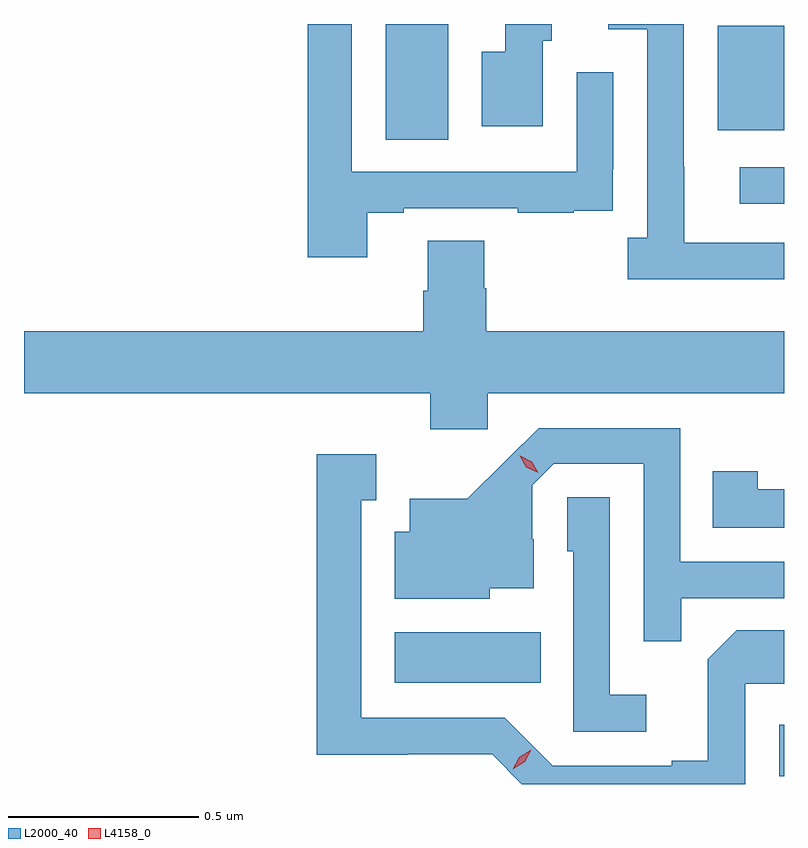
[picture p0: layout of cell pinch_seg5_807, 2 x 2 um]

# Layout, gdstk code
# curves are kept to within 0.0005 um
import gdstk
lib = gdstk.Library(unit=1e-6, precision=1e-09)
def R(c, l, rs):  # rectangles x0, y0, x1, y1
    for r in rs: c.add(gdstk.rectangle(r[:2], r[2:], *l))
def P(c, l, *ps):  # polygons
    for p in ps: c.add(gdstk.Polygon(p, *l))
L2000_40 = (2000, 40)
L4158_0 = (4158, 0)

pinch_seg5_807 = lib.new_cell('pinch_seg5_807')
R(pinch_seg5_807, L2000_40, [(783.737,907.7,783.75,907.836), (782.726,907.946,783.11,908.08), (783.633,909.207,783.75,909.303), (782.702,909.376,782.866,909.68), (783.575,909.401,783.75,909.676)])
P(pinch_seg5_807, L2000_40, [(783.75,909.105),(783.487,909.105),(783.487,909.305),(783.486,909.305),(783.486,909.68),(783.288,909.68),(783.288,909.666),(783.39,909.666),(783.39,909.118),(783.339,909.118),(783.339,909.008),(783.75,909.008)],
  [(782.653,909.183),(782.749,909.183),(782.749,909.195),(783.049,909.195),(783.049,909.183),(783.197,909.183),(783.197,909.189),(783.299,909.189),(783.299,909.298),(783.3,909.298),(783.3,909.553),(783.204,909.553),(783.204,909.291),(782.613,909.291),(782.613,909.68),(782.497,909.68),(782.497,909.066),(782.653,909.066)],
  [(783.115,909.636),(783.139,909.636),(783.139,909.68),(783.017,909.68),(783.017,909.607),(782.954,909.607),(782.954,909.411),(783.115,909.411)],
  [(782.97,908.708),(783.75,908.708),(783.75,908.872),(782.966,908.872),(782.966,908.985),(782.961,908.985),(782.961,909.11),(782.813,909.11),(782.813,908.978),(782.801,908.978),(782.801,908.872),(781.75,908.872),(781.75,908.708),(782.819,908.708),(782.819,908.613),(782.97,908.613)],
  [(783.479,908.169),(783.75,908.169),(783.75,908.265),(783.477,908.265),(783.477,908.616),(783.104,908.616),(782.917,908.431),(782.765,908.431),(782.765,908.344),(782.726,908.344),(782.726,908.168),(782.976,908.168),(782.976,908.195),(783.091,908.195),(783.091,908.324),(783.087,908.324),(783.087,908.466),(783.144,908.523),(783.381,908.523),(783.381,908.056),(783.479,908.056)],
  [(783.648,907.944),(783.75,907.944),(783.75,908.084),(783.625,908.084),(783.549,908.008),(783.549,907.741),(783.455,907.741),(783.455,907.728),(783.141,907.728),(783.015,907.854),(782.638,907.854),(782.638,908.427),(782.677,908.427),(782.677,908.548),(782.52,908.548),(782.52,907.757),(782.76,907.757),(782.76,907.758),(782.982,907.758),(783.06,907.68),(783.648,907.68)],
  [(783.75,908.456),(783.681,908.456),(783.681,908.503),(783.562,908.503),(783.562,908.355),(783.75,908.355)],
  [(783.388,907.915),(783.291,907.915),(783.291,908.435),(783.18,908.435),(783.18,908.292),(783.195,908.292),(783.195,907.818),(783.388,907.818)])
P(pinch_seg5_807, L4158_0, [(783.103,908.499),(783.072,908.514),(783.055,908.544),(783.055,908.544),(783.056,908.544),(783.086,908.528),(783.103,908.499),(783.103,908.499)],
  [(783.036,907.719),(783.036,907.719),(783.053,907.751),(783.085,907.77),(783.085,907.77),(783.085,907.77),(783.068,907.738),(783.036,907.719)])

lib.write_gds('pinch_seg5_807.gds')
